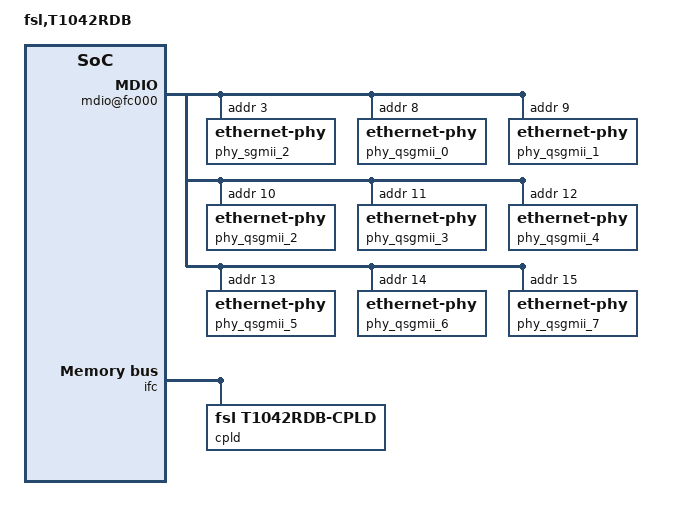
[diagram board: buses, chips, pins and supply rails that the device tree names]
/*
 * T1042RDB Device Tree Source
 *
 * Copyright 2014 - 2015 Freescale Semiconductor Inc.
 *
 * Redistribution and use in source and binary forms, with or without
 * modification, are permitted provided that the following conditions are met:
 *     * Redistributions of source code must retain the above copyright
 *	 notice, this list of conditions and the following disclaimer.
 *     * Redistributions in binary form must reproduce the above copyright
 *	 notice, this list of conditions and the following disclaimer in the
 *	 documentation and/or other materials provided with the distribution.
 *     * Neither the name of Freescale Semiconductor nor the
 *	 names of its contributors may be used to endorse or promote products
 *	 derived from this software without specific prior written permission.
 *
 *
 * ALTERNATIVELY, this software may be distributed under the terms of the
 * GNU General Public License ("GPL") as published by the Free Software
 * Foundation, either version 2 of that License or (at your option) any
 * later version.
 *
 * THIS SOFTWARE IS PROVIDED BY Freescale Semiconductor "AS IS" AND ANY
 * EXPRESS OR IMPLIED WARRANTIES, INCLUDING, BUT NOT LIMITED TO, THE IMPLIED
 * WARRANTIES OF MERCHANTABILITY AND FITNESS FOR A PARTICULAR PURPOSE ARE
 * DISCLAIMED. IN NO EVENT SHALL Freescale Semiconductor BE LIABLE FOR ANY
 * DIRECT, INDIRECT, INCIDENTAL, SPECIAL, EXEMPLARY, OR CONSEQUENTIAL DAMAGES
 * (INCLUDING, BUT NOT LIMITED TO, PROCUREMENT OF SUBSTITUTE GOODS OR SERVICES;
 * LOSS OF USE, DATA, OR PROFITS; OR BUSINESS INTERRUPTION) HOWEVER CAUSED AND
 * ON ANY THEORY OF LIABILITY, WHETHER IN CONTRACT, STRICT LIABILITY, OR TORT
 * (INCLUDING NEGLIGENCE OR OTHERWISE) ARISING IN ANY WAY OUT OF THE USE OF THIS
 * SOFTWARE, EVEN IF ADVISED OF THE POSSIBILITY OF SUCH DAMAGE.
 */

/include/ "t104xsi-pre.dtsi"
/include/ "t104xrdb.dtsi"

/ {
	model = "fsl,T1042RDB";
	compatible = "fsl,T1042RDB";

	aliases {
		phy_sgmii_2 = &phy_sgmii_2;
	};

	soc@ffe000000 {
		fman@400000 {
			ethernet@e0000 {
			       status = "disabled";
			};

			ethernet@e2000 {
			       status = "disabled";
			};

			ethernet@e4000 {
				phy-handle = <&phy_sgmii_2>;
				phy-connection-type = "sgmii";
			};

			mdio@fc000 {
				phy_sgmii_2: ethernet-phy@03 {
					reg = <0x03>;
				};

				phy_qsgmii_0: ethernet-phy@08 {
					reg = <0x08>;
					interrupts = <0 1 0 0>;
				};
				phy_qsgmii_1: ethernet-phy@09 {
					reg = <0x09>;
					interrupts = <0 1 0 0>;
				};
				phy_qsgmii_2: ethernet-phy@0a {
					reg = <0x0a>;
					interrupts = <0 1 0 0>;
				};
				phy_qsgmii_3: ethernet-phy@0b {
					reg = <0x0b>;
					interrupts = <0 1 0 0>;
				};
				phy_qsgmii_4: ethernet-phy@0c {
					reg = <0x0c>;
					interrupts = <0 1 0 0>;
				};
				phy_qsgmii_5: ethernet-phy@0d {
					reg = <0x0d>;
					interrupts = <0 1 0 0>;
				};
				phy_qsgmii_6: ethernet-phy@0e {
					reg = <0x0e>;
					interrupts = <0 1 0 0>;
				};
				phy_qsgmii_7: ethernet-phy@0f {
					reg = <0x0f>;
					interrupts = <0 1 0 0>;
				};
			};
		};

		l2switch: l2switch@800000 {
			port@100000 {
				phy-connection-type = "qsgmii";
				phy-handle = <&phy_qsgmii_0>;
			};
			port@110000 {
				phy-connection-type = "qsgmii";
				phy-handle = <&phy_qsgmii_1>;
			};
			port@120000 {
				phy-connection-type = "qsgmii";
				phy-handle = <&phy_qsgmii_2>;
			};
			port@130000 {
				phy-connection-type = "qsgmii";
				phy-handle = <&phy_qsgmii_3>;
			};
			port@140000 {
				phy-connection-type = "qsgmii";
				phy-handle = <&phy_qsgmii_4>;
			};
			port@150000 {
				phy-connection-type = "qsgmii";
				phy-handle = <&phy_qsgmii_5>;
			};
			port@160000 {
				phy-connection-type = "qsgmii";
				phy-handle = <&phy_qsgmii_6>;
			};
			port@170000 {
				phy-connection-type = "qsgmii";
				phy-handle = <&phy_qsgmii_7>;
			};
		};

	};

	ifc: localbus@ffe124000 {
		cpld@3,0 {
			compatible = "fsl,t1042rdb-cpld";
		};
	};
};

#include "t1042si-post.dtsi"
